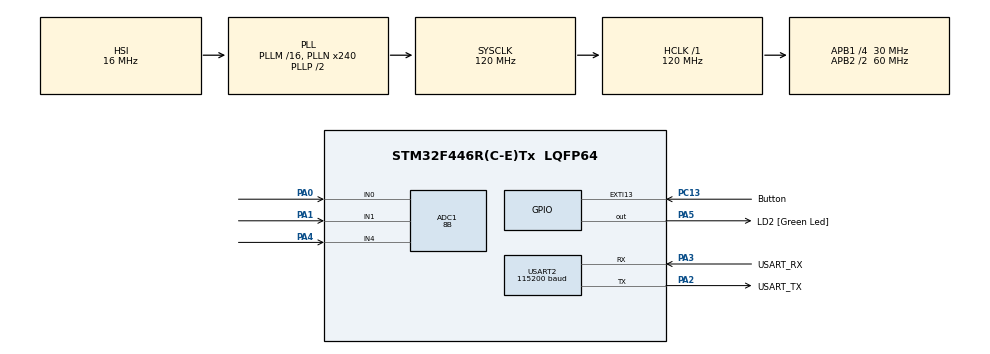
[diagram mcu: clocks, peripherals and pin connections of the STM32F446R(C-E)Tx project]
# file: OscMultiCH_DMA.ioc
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Mcu.Family=STM32F4
PH0-OSC_IN.Signal=RCC_OSC_IN
RCC.CortexFreq_Value=120000000
ADC1.SamplingTime-6\#ChannelRegularConversion=ADC_SAMPLETIME_3CYCLES
PA14.GPIO_Label=TCK
PC13.GPIO_Label=Button
RCC.SYSCLKSource=RCC_SYSCLKSOURCE_PLLCLK
ProjectManager.StackSize=0x400
NVIC.ADC_IRQn=true\:0\:0\:false\:false\:true\:true\:true
ADC1.Channel-5\#ChannelRegularConversion=ADC_CHANNEL_1
RCC.HCLKFreq_Value=120000000
ADC1.Resolution=ADC_RESOLUTION_8B
RCC.APB2TimFreq_Value=120000000
Dma.ADC1.0.Direction=DMA_PERIPH_TO_MEMORY
NVIC.DMA2_Stream0_IRQn=true\:0\:0\:false\:false\:true\:false\:true
Dma.ADC1.0.MemDataAlignment=DMA_MDATAALIGN_BYTE
RCC.AHBFreq_Value=120000000
PH0-OSC_IN.Mode=HSE-External-Oscillator
RCC.HSE_VALUE=8000000
ADC1.Channel-6\#ChannelRegularConversion=ADC_CHANNEL_4
PC14-OSC32_IN.Mode=LSE-External-Oscillator
PA14.Mode=Serial_Wire
Dma.ADC1.0.PeriphInc=DMA_PINC_DISABLE
PC13.GPIO_PuPd=GPIO_PULLUP
SH.ADCx_IN0.0=ADC1_IN0,IN0
RCC.FLatency-AdvancedSettings=FLASH_LATENCY_3
PH1-OSC_OUT.Mode=HSE-External-Oscillator
Mcu.Package=LQFP64
USART2.VirtualMode=VM_ASYNC
PA2.GPIO_Label=USART_TX
TIM8.Prescaler=2
RCC.APB2CLKDivider=RCC_HCLK_DIV2
SH.ADCx_IN1.0=ADC1_IN1,IN1
RCC.APB1TimFreq_Value=60000000
Dma.ADC1.0.FIFOMode=DMA_FIFOMODE_DISABLE
Dma.Request0=ADC1
ADC1.Rank-6\#ChannelRegularConversion=3
ADC1.EOCSelection=ADC_EOC_SINGLE_CONV
PA3.Signal=USART2_RX
PB3.GPIO_Label=SWO
PC15-OSC32_OUT.Mode=LSE-External-Oscillator
Dma.ADC1.0.Instance=DMA2_Stream0
PC13.Signal=GPXTI13
RCC.APB1CLKDivider=RCC_HCLK_DIV4
PC14-OSC32_IN.Signal=RCC_OSC32_IN
NVIC.USART2_IRQn=true\:0\:2\:false\:false\:true\:true\:true
USART2.BaudRate=115200
PA0-WKUP.Signal=ADCx_IN0
PA13.Signal=SYS_JTMS-SWDIO
PA3.Mode=Asynchronous
Dma.ADC1.0.PeriphDataAlignment=DMA_PDATAALIGN_BYTE
ProjectManager.TargetToolchain=STM32CubeIDE
Dma.ADC1.0.Mode=DMA_NORMAL
Dma.ADC1.0.Priority=DMA_PRIORITY_LOW
VP_TIM8_VS_ClockSourceINT.Mode=Internal
RCC.USBFreq_Value=120000000
PC15-OSC32_OUT.Signal=RCC_OSC32_OUT
PA1.Signal=ADCx_IN1
PA5.Signal=GPIO_Output
TIM8.AutoReloadPreload=TIM_AUTORELOAD_PRELOAD_DISABLE
board=NUCLEO-F446RE
RCC.VCOOutputFreq_Value=240000000
RCC.APB2Freq_Value=60000000
PH1-OSC_OUT.Signal=RCC_OSC_OUT
SH.ADCx_IN4.0=ADC1_IN4,IN4
ADC1.DMAContinuousRequests=ENABLE
ADC1.NbrOfConversion=3
PA13.Mode=Serial_Wire
Mcu.Name=STM32F446R(C-E)Tx
PA13.GPIO_Label=TMS
PA2.Signal=USART2_TX
ADC1.ExternalTrigConv=ADC_EXTERNALTRIGCONV_T8_TRGO
TIM8.Period=599
RCC.48MHZClocksFreq_Value=84000000
PB3.Signal=SYS_JTDO-SWO
PA4.Signal=ADCx_IN4
RCC.SYSCLKFreq_VALUE=120000000
ADC1.master=1
PA5.GPIO_Label=LD2 [Green Led]
TIM8.TIM_MasterOutputTrigger=TIM_TRGO_UPDATE
PC13.GPIO_ModeDefaultEXTI=GPIO_MODE_IT_FALLING
PA14.Signal=SYS_JTCK-SWCLK
Dma.ADC1.0.MemInc=DMA_MINC_ENABLE
ProjectManager.HeapSize=0x200
ADC1.SamplingTime-5\#ChannelRegularConversion=ADC_SAMPLETIME_3CYCLES
RCC.HSI_VALUE=16000000
NVIC.PriorityGroup=NVIC_PRIORITYGROUP_0
ADC1.NbrOfConversionFlag=1
RCC.PLLN=240
PA2.Mode=Asynchronous
RCC.APB1Freq_Value=30000000
ADC1.Rank-5\#ChannelRegularConversion=2
PA3.GPIO_Label=USART_RX

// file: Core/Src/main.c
/* USER CODE BEGIN Header */
/**
  ******************************************************************************
  * @file           main.c
  * @brief          Main Program Body
  * @author 		Felipe Pasini Graeff
  * @date 			June 26, 2021
  * @version 		1.2
  ******************************************************************************
  * Up to 3 channel (PA0, PA1 e PA4) Oscilloscope application, with sampling rate up to 2 MHz
  * (for 1 channel only) and calculation of the period of the acquired signal. <br>
  * Data is send for visualization via serial port (USART2).<br>
  *
  *
  * Data transfer protocol (Micro -> PC): <br>
  *
  * <pre>  2 bytes -> 1st channel period
  *   2 bytes -> 2nd channel period (if enabled)
  *   2 bytes -> 3rd channel period (if enabled)
  *
  *   2 bytes -> number of samples (commom for every channel)
  *
  *   1 byte ('n' value in channel 1)              \
  *   1 byte ('n' value in channel 2, if enabled)   > until 'n' = number of samples
  *   1 byte ('n' value in channel 3, if enabled)  /
  * </pre>
  * Data transfer protocol (PC -> Micro):<br>
  *
  * <pre>  character 'C' -> next byte will be configuration byte
  * 					    the following 2 bytes will be the number of samples to be acquired
  *
  *   Configuration byte:
  *      bits 0-3 (less significant) -> Sample Rate
  *         0b0000: 1kHz
  *         0b0001: 5kHz
  *         0b0010: 10kHz
  *         0b0011: 50kHz
  *         0b0100: 100kHz
  *         0b0101: 500kHz
  *         0b0110: 1MHz (Can be used only for 1 or 2 channel)
  *         0b0111: 2MHz (Can be used only for 1 channel)
  *         0b1xxx: Not used
  *
  *      bits 4-6 -> Number of channels
  *         0b000xxxx: 1 channel
  *         0b001xxxx: 2 channels
  *         0b010xxxx: 3 channels
  *         0b011xxxx: Not used
  *         0b1xxxxxx: Not used
  *
  *      bit 7: -> Number of samples is set by the user
  *         0b0xxxxxxx: Number of samples was not set (will be automatically defined)
  *         0b1xxxxxxx: Number of asmples was set by the user
  *
  *   2 bytes -> Number of samples (Ignored if the number of samples was not set)
  *
  *   Character 'S' -> Start of conversion (even if there was no configuration)
  *      Default configuration:
  *         Sampling rate = 500kHz
  *         Number of channels = 1
  *         Number of samples = not set
  *      If there is any anterior configuration, this one shall be used
  *
  *
  * </pre>
  * @attention
  *
  * <h2><center>&copy; Copyright (c) 2021 STMicroelectronics.
  * All rights reserved.</center></h2>
  *
  * This software component is licensed by ST under BSD 3-Clause license,
  * the "License"; You may not use this file except in compliance with the
  * License. You may obtain a copy of the License at:
  *                        opensource.org/licenses/BSD-3-Clause
  *
  ******************************************************************************
  */
/* USER CODE END Header */
#include "main.h"
#include "adc.h"
#include "dma.h"
#include "tim.h"
#include "usart.h"
#include "gpio.h"

/* USER CODE BEGIN PD */
#define MIN 0
#define MAX 1
#define FALSE 0
#define TRUE 1
#define MAX_NUM_OF_CONVERSIONS 10000
#define MAX_NUM_OF_CHANNELS 3
#define START_OF_CONVERSION 83
#define DEFINE_CONFIG 67
#define COM_TIMEOUT 10000
#define BAUD_115200_WAIT_TIME 10000
/* USER CODE END PD */

/* USER CODE BEGIN PV */
///serial data received
unsigned char data = 0;
///pointer to the serial data received
unsigned char *pointer=&data;

///if set, the next byte to be received is the configuration byte
char Config=FALSE;
///if set, the user has defined the number of samples to be displayed
char N_Samples_is_Set=FALSE;
///number of channels used in acquisition
unsigned char Number_of_Channels = 1;
///number of samples to be sent via serial COM
unsigned int Number_of_Samples;
///main array with the ADC values (raw data)
unsigned char array[MAX_NUM_OF_CONVERSIONS*MAX_NUM_OF_CHANNELS];
///current operating channel during processing
unsigned char channel=0;
///number of conversions made by ADC
unsigned int ADC_conversions=0;
///signal period of each channel
unsigned int period[MAX_NUM_OF_CHANNELS]={0,0,0};
///minimum and maximum position in each channel (to determine period)
unsigned int position[2][2500][MAX_NUM_OF_CHANNELS];
///Initial value from which the serial data shall be sent
unsigned int Init_Value = 0;

///Auto Reload Preload values for each sampling rate
const unsigned int SR_Available[]=
{
		39999,//0 - 1k
		7999,//1 - 5k
		3999,//2 - 10k
		799,//3 - 50k
		399,//4 - 100k
		79,//5 - 500k
		39,//6 - 1M
		19//7 - 2M
};

/* USER CODE END PV */

void SystemClock_Config(void);

/* USER CODE BEGIN 0 */

/**
 * @brief Checks the number of samples to be sent via serial based on the signal period
 * Also defines the Init_Value (from which the samples shal be sent).
 * @retval int HAL_OK
 */
int GetSamplesAuto (void)
{
	int Max_Period = 0;

	for(channel=0;channel<Number_of_Channels;channel++)///Checks the maximum period between all channels
	{
		if(period[channel]>Max_Period)Max_Period=period[channel];
	}

	if(Max_Period==0)Max_Period=MAX_NUM_OF_CONVERSIONS;///If a complete period could not be found in any channel, sends all samples

	if(Max_Period>(MAX_NUM_OF_CONVERSIONS/2))///If the period is more than 50% of the samples, sends all samples
	{
		Number_of_Samples=MAX_NUM_OF_CONVERSIONS;
		Init_Value=0;
	}else if(Max_Period>(MAX_NUM_OF_CONVERSIONS/10))///If the period is between 10% and 50% of total samples, sends 2 periods of samples
	{
		Number_of_Samples=2*Max_Period;

		//2 periods + first minimum value gets over the total number of samples?
		if((position[MIN][0][0]+Number_of_Samples)>MAX_NUM_OF_CONVERSIONS)
		{
			Init_Value=0;//then, samples shall be sent from point 0
		} else
		{
			Init_Value=position[MIN][0][0];//if not, samples are sent starting at the first minimum point
		}
	}else if(Max_Period>(MAX_NUM_OF_CONVERSIONS/20))///If the period is between 5% and 10% of the total samples, sends 2000 samples
	{
		Number_of_Samples=(MAX_NUM_OF_CONVERSIONS/5);
		Init_Value=position[MIN][0][0];
	}else if(Max_Period<=(MAX_NUM_OF_CONVERSIONS/20))///If the period is lower than 5% of the total samples, sends 1000 samples
	{
		Number_of_Samples=(MAX_NUM_OF_CONVERSIONS/10);
		Init_Value=position[MIN][0][0];
	}

	return HAL_OK;
}

/**
 *@brief Transmit data using serial port
 *@retval int Hal_OK
 */
int Transmit (void)
{
	unsigned int cont=0;

	if(N_Samples_is_Set==FALSE)///if the number of samples was not set by the user
	{
		GetSamplesAuto();
	}else
	{
		Init_Value=0;///if the user set the number of samples, sends that amount of samples, beginning on the first one
	}

	for(channel=0;channel<Number_of_Channels;channel++)///Sends each channel period
	{
		pointer=&period[channel];
		HAL_UART_Transmit(&huart2, pointer, 2, COM_TIMEOUT);
	}

	pointer=&Number_of_Samples;///Sends the number of samples to be sent
	HAL_UART_Transmit(&huart2, pointer, 2, COM_TIMEOUT);

	pointer=&array[Init_Value];///Sends the samples
	for (cont=0;cont<(Number_of_Samples*Number_of_Channels);cont++)
	{
		HAL_UART_Transmit(&huart2, pointer, 1, COM_TIMEOUT);
		pointer++;

		/**During transmission, timed pauses are made in the data sending,
		 * to adjust the clock and avoid transmission errors
		 * (theoretical baudrate is not the same as the practical, occasioning in loss of data)
		 */
		if(cont%1000==0)
		{
			for(int aux=0;aux<BAUD_115200_WAIT_TIME;aux++){}
		}
	}

	cont=0;
	pointer=&data;

	return HAL_OK;

}

/**
 * @brief Analises the collected samples, obtaining, for each channel, the period of the signal
 * @retval int HAL_OK
 */

int WaveAnalysis(void)
{
	int aux=0;///auxiliary variable
	unsigned int cont_min=0;
	unsigned int cont_max=0;
	unsigned int diff_bw_min[Number_of_Channels];
	unsigned int diff_bw_max[Number_of_Channels];

	unsigned char Next_is=MIN;
	unsigned char value[2][Number_of_Channels];
	unsigned char margin[Number_of_Channels];

	for (channel=0;channel<Number_of_Channels;channel++)///course through all channels
	{
		value[MIN][channel]=255;
		value[MAX][channel]=0;
		diff_bw_max[channel]=0;
		diff_bw_min[channel]=0;
		position[MIN][0][channel]=0;
		position[MAX][0][channel]=0;

		for(aux=channel;aux<(MAX_NUM_OF_CONVERSIONS*Number_of_Channels);aux+=Number_of_Channels)///Finds the maximum and minimum value for this channel
		{
			if(array[aux]<value[MIN][channel])//new minimum value
			{
				value[MIN][channel]=array[aux];
			}
			if(array[aux]>value[MAX][channel])//new maximum value
			{
				value[MAX][channel]=array[aux];
			}
		}

		margin[channel] =(int)((value[MAX][channel]-value[MIN][channel])/10);///margin to classify a value as a minimum or maximum = 10% of the signal's amplitude

		if(margin[channel]<=1)///Checks whether the margin is too small
		{
			period[channel]=0;
		}else{
			Next_is=MIN;
			cont_max=0;
			cont_min=0;

			///For each channel:

			/**
			 * Verify the position of all minimum and maximum values, alternately and <br>
			 * stores these positions in "position[MAX or MIN][value][channel]". <br>
			 * Verifies the maximum time between two subsequent maximums or minimums. This time will be the period of the signal (worst scenario)
			 */

			for(aux=channel;aux<(MAX_NUM_OF_CONVERSIONS*Number_of_Channels);aux+=Number_of_Channels)
			{
				if((array[aux]>=(value[MAX][channel] - margin[channel]))&&(Next_is==MAX))///New maximum value (with margin)
				{
					position[MAX][cont_max][channel]=aux;
					if(cont_max>=1)///already encountered 2 maximum values?
					{
						if(diff_bw_max[channel]<(position[MAX][cont_max][channel]-position[MAX][cont_max-1][channel]))///always gets the greater difference between two maximum points
						{
							diff_bw_max[channel]=position[MAX][cont_max][channel]-position[MAX][cont_max-1][channel];
						}
					}
					Next_is=MIN;
					cont_max++;
				}
				if((array[aux]<=(value[MIN][channel] + margin[channel]))&&(Next_is==MIN))///New minimum value (with margin)
				{
					position[MIN][cont_min][channel]=aux;
					if(cont_min>=1)///already encountered 2 minimum values?
					{
						if(diff_bw_min[channel]<(position[MIN][cont_min][channel]-position[MIN][cont_min-1][channel]))///always gets the greater difference between two minimum points
						{
							diff_bw_min[channel]=position[MIN][cont_min][channel]-position[MIN][cont_min-1][channel];
						}
					}
					Next_is=MAX;
					cont_min++;
				}
			}

			if(diff_bw_max[channel]>=diff_bw_min[channel])///period will be the greatest difference between two subsequent maximum or minimum points
			{
				period[channel]=diff_bw_max[channel]/Number_of_Channels;

			}else
			{
				period[channel]=diff_bw_min[channel]/Number_of_Channels;
			}
		}

	}

	return HAL_OK;
}

/* USER CODE END 0 */

int main(void)
{

  /* MCU Configuration--------------------------------------------------------*/

  /* Reset of all peripherals, Initializes the Flash interface and the Systick. */
  HAL_Init();

  /* Configure the system clock */
  SystemClock_Config();

  /* Initialize all configured peripherals */
  MX_GPIO_Init();
  MX_DMA_Init();
  MX_USART2_UART_Init();
  MX_ADC1_Init();
  MX_TIM8_Init();
  /* USER CODE BEGIN 2 */

  ///Request data receiving via serial
  __HAL_UART_ENABLE_IT(&huart2,UART_IT_RXNE);
  HAL_UART_Receive_IT(&huart2, pointer, 1);

  ///Sets the default sampling rate (500kHz)
  __HAL_TIM_SET_AUTORELOAD(&htim8,SR_Available[5]);

  __HAL_ADC_ENABLE(&hadc1);

  /* USER CODE END 2 */

  /* Infinite loop */
  while (1)
  {

  }
}

void SystemClock_Config(void)
{
  RCC_OscInitTypeDef RCC_OscInitStruct = {0};
  RCC_ClkInitTypeDef RCC_ClkInitStruct = {0};

  /** Configure the main internal regulator output voltage
  */
  __HAL_RCC_PWR_CLK_ENABLE();
  __HAL_PWR_VOLTAGESCALING_CONFIG(PWR_REGULATOR_VOLTAGE_SCALE3);
  /** Initializes the RCC Oscillators according to the specified parameters
  * in the RCC_OscInitTypeDef structure.
  */
  RCC_OscInitStruct.OscillatorType = RCC_OSCILLATORTYPE_HSI;
  RCC_OscInitStruct.HSIState = RCC_HSI_ON;
  RCC_OscInitStruct.HSICalibrationValue = RCC_HSICALIBRATION_DEFAULT;
  RCC_OscInitStruct.PLL.PLLState = RCC_PLL_ON;
  RCC_OscInitStruct.PLL.PLLSource = RCC_PLLSOURCE_HSI;
  RCC_OscInitStruct.PLL.PLLM = 16;
  RCC_OscInitStruct.PLL.PLLN = 240;
  RCC_OscInitStruct.PLL.PLLP = RCC_PLLP_DIV2;
  RCC_OscInitStruct.PLL.PLLQ = 2;
  RCC_OscInitStruct.PLL.PLLR = 2;
  if (HAL_RCC_OscConfig(&RCC_OscInitStruct) != HAL_OK)
  {
    Error_Handler();
  }
  /** Initializes the CPU, AHB and APB buses clocks
  */
  RCC_ClkInitStruct.ClockType = RCC_CLOCKTYPE_HCLK|RCC_CLOCKTYPE_SYSCLK
                              |RCC_CLOCKTYPE_PCLK1|RCC_CLOCKTYPE_PCLK2;
  RCC_ClkInitStruct.SYSCLKSource = RCC_SYSCLKSOURCE_PLLCLK;
  RCC_ClkInitStruct.AHBCLKDivider = RCC_SYSCLK_DIV1;
  RCC_ClkInitStruct.APB1CLKDivider = RCC_HCLK_DIV4;
  RCC_ClkInitStruct.APB2CLKDivider = RCC_HCLK_DIV2;

  if (HAL_RCC_ClockConfig(&RCC_ClkInitStruct, FLASH_LATENCY_3) != HAL_OK)
  {
    Error_Handler();
  }
}

/* USER CODE BEGIN 4 */

/**
 * @brief ADC's end of conversion interrupt
 * @retval none
 */
void HAL_ADC_ConvCpltCallback(ADC_HandleTypeDef* hadc)
{
		HAL_TIM_Base_Stop(&htim8);//Stops the trigger for the ADC (TIM 8)
		ADC_conversions=0;//Resets the number of conversions
		HAL_GPIO_WritePin(LD2_GPIO_Port, LD2_Pin, 0);
		if(WaveAnalysis()==HAL_OK)//Analyzes the waveform obtained
		{
			Transmit();//Transmit data
		}
		__HAL_ADC_CLEAR_FLAG(&hadc1,ADC_FLAG_OVR);//Clear overrun flag (preventively)
		__HAL_ADC_CLEAR_FLAG(&hadc1,ADC_FLAG_EOC);//Clear the end of conversion flag
	//}
}

/**
 * @brief Serial data received interrupt
 * @param huart UART_Handle
 * @retval none
 */
void HAL_UART_RxCpltCallback(UART_HandleTypeDef *huart)
{
	///Checks whether the byte received was:

	///Start of conversion (character 'S')
	if(data==START_OF_CONVERSION)
	{
		ADC_conversions=0;
		__HAL_ADC_CLEAR_FLAG(&hadc1,ADC_FLAG_OVR);//clears overrun flag
		__HAL_TIM_CLEAR_FLAG(&htim8,TIM_FLAG_UPDATE);

		HAL_TIM_GenerateEvent(&htim8, TIM_EVENTSOURCE_UPDATE);//refreshes TIM peripheral

		HAL_ADC_Start_DMA(&hadc1, &array[0], MAX_NUM_OF_CONVERSIONS*Number_of_Channels);
		HAL_TIM_Base_Start(&htim8);
		HAL_GPIO_WritePin(LD2_GPIO_Port, LD2_Pin, 1);
	}

	if(Config>=2)///Some of the 2 byte of the number of samples
	{
		Number_of_Samples|= (data<<((Config-2)*8));
		Config++;
		if(Config==4)
		{
			Config=FALSE;
		}
	}
	if(Config==TRUE)///Configuration byte
	{
		Config=0;
		Config|=(data & 0xF);//sample rate is the first 4 bits of data
		__HAL_TIM_SET_AUTORELOAD(&htim8,SR_Available[(int)Config]);//sets sample rate

		Number_of_Channels=((data>>4)&(0x7));
		ADC1->SQR1&=~ADC_SQR1_L;
		ADC1->SQR1|=((Number_of_Channels-1)<<20);//sets the number of channels per conversion

		N_Samples_is_Set = (data>>7);
		Number_of_Samples=0;

		Config=2;
	}
	if(data==DEFINE_CONFIG)///Define the configuration (character 'C')
	{
		Config=TRUE;
	}

	HAL_UART_Receive_IT(&huart2, pointer, 1);
}

/* USER CODE END 4 */

void Error_Handler(void)
{
  __disable_irq();
  while (1)
  {
  }
}

/************************ (C) COPYRIGHT STMicroelectronics *****END OF FILE****/
